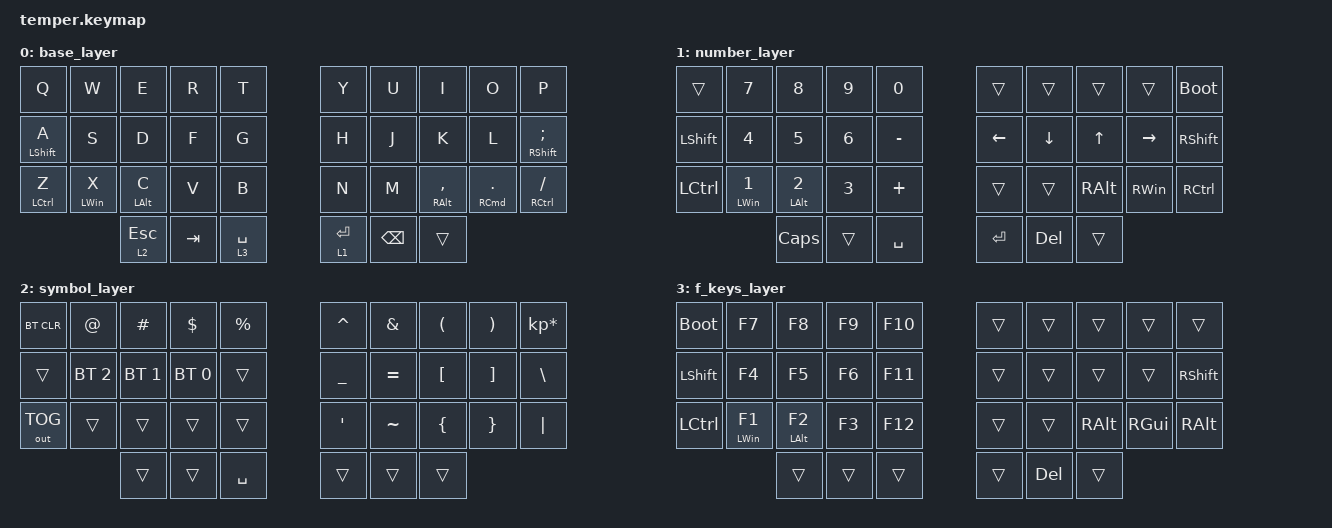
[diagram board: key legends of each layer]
/*
 * Copyright (c) 2020 The ZMK Contributors
 *
 * SPDX-License-Identifier: MIT
 */

#include <behaviors.dtsi>
#include <dt-bindings/zmk/keys.h>
#include <dt-bindings/zmk/bt.h>
#include <dt-bindings/zmk/outputs.h>

#define BASE 0
#define NUMBER 1
#define SYMBOL 2
#define F_KEYS 3

&lt {
    tapping-term-ms = <250>;
    flavor = "tap-preferred";
    require-prior-idle-ms = <130>;
    quick-tap-ms = <200>;
};

&mt {
    tapping-term-ms = <250>;
    flavor = "tap-preferred";
    require-prior-idle-ms = <130>;
    quick-tap-ms = <200>;
};

/ {
        keymap {
                compatible = "zmk,keymap";

                base_layer {
                        bindings = <
// ╭─────────────┬─────────────┬─────────────┬─────────────┬─────────────╮   ╭─────────────┬─────────────┬─────────────┬─────────────┬─────────────╮
        &kp Q         &kp W         &kp E         &kp R         &kp T             &kp Y         &kp U         &kp I         &kp O         &kp P         
// ├─────────────┼─────────────┼─────────────┼─────────────┼─────────────┤   ├─────────────┼─────────────┼─────────────┼─────────────┼─────────────┤
   &mt LEFT_SHIFT A  &kp S          &kp D         &kp F         &kp G             &kp H         &kp J         &kp K         &kp L     &mt RIGHT_SHIFT SEMI
// ├─────────────┼─────────────┼─────────────┼─────────────┼─────────────┤   ├─────────────┼─────────────┼─────────────┼─────────────┼─────────────┤
   &mt LCTRL Z     &mt LWIN X   &mt LALT C        &kp V         &kp B             &kp N         &kp M     &mt RALT COMMA &mt RCMD PERIOD &mt RCTRL SLASH
// ╰─────────────┴─────────────┼─────────────┼─────────────┼─────────────┤   ├─────────────┼─────────────┼─────────────┼─────────────┴─────────────╯
                                 &lt 2 ESCAPE    &kp TAB     &lt 3 SPACE       &lt 1 ENTER  &kp BACKSPACE    &trans
//                             ╰─────────────┴─────────────┴─────────────╯   ╰─────────────┴─────────────┴─────────────╯
                        >;
                };
                number_layer {
                        bindings = <
// ╭─────────────┬─────────────┬─────────────┬─────────────┬─────────────╮   ╭─────────────┬─────────────┬─────────────┬─────────────┬─────────────╮
       &trans     &kp NUMBER_7   &kp NUMBER_8  &kp NUMBER_9  &kp NUMBER_0          &trans       &trans        &trans        &trans      &bootloader   
// ├─────────────┼─────────────┼─────────────┼─────────────┼─────────────┤   ├─────────────┼─────────────┼─────────────┼─────────────┼─────────────┤
      &kp LSHFT   &kp NUMBER_4   &kp NUMBER_5  &kp NUMBER_6  &kp MINUS       &kp LEFT_ARROW  &kp DOWN_ARROW &kp UP_ARROW &kp RIGHT_ARROW &kp RSHFT
// ├─────────────┼─────────────┼─────────────┼─────────────┼─────────────┤   ├─────────────┼─────────────┼─────────────┼─────────────┼─────────────┤
      &kp LCTRL   &mt LWIN NUMBER_1 &mt LALT NUMBER_2 &kp NUMBER_3  &kp PLUS      &trans      &trans         &kp RALT     &kp RWIN      &kp RCTRL
// ╰─────────────┴─────────────┼─────────────┼─────────────┼─────────────┤   ├─────────────┼─────────────┼─────────────┼─────────────┴─────────────╯
                                 &kp CAPSLOCK   &trans        &kp SPACE          &kp RET      &kp DELETE   &trans
//                             ╰─────────────┴─────────────┴─────────────╯   ╰─────────────┴─────────────┴─────────────╯
                        >;
                };
                symbol_layer {
                        bindings = <
// ╭─────────────┬─────────────┬─────────────┬─────────────┬─────────────╮   ╭─────────────┬─────────────┬─────────────┬─────────────┬─────────────╮
      &bt BT_CLR     &kp AT        &kp HASH      &kp DLLR      &kp PRCNT       &kp CARET        &kp AMPS   &kp LPAR        &kp RPAR  &kp KP_ASTERISK  
// ├─────────────┼─────────────┼─────────────┼─────────────┼─────────────┤   ├─────────────┼─────────────┼─────────────┼─────────────┼─────────────┤
       &trans     &bt BT_SEL 2   &bt BT_SEL 1  &bt BT_SEL 0    &trans          &kp UNDER        &kp EQUAL  &kp LBKT        &kp RBKT      &kp BSLH 
// ├─────────────┼─────────────┼─────────────┼─────────────┼─────────────┤   ├─────────────┼─────────────┼─────────────┼─────────────┼─────────────┤
     &out OUT_TOG    &trans        &trans        &trans        &trans         &kp SINGLE_QUOTE  &kp TILDE  &kp LBRC        &kp RBRC    &kp PIPE 
// ╰─────────────┴─────────────┼─────────────┼─────────────┼─────────────┤   ├─────────────┼─────────────┼─────────────┼─────────────┴─────────────╯
                                    &trans       &trans       &kp SPACE       &trans         &trans        &trans
//                             ╰─────────────┴─────────────┴─────────────╯   ╰─────────────┴─────────────┴─────────────╯
                        >;
                };

                f_keys_layer {
                        bindings = <
// ╭─────────────┬─────────────┬─────────────┬─────────────┬─────────────╮   ╭─────────────┬─────────────┬─────────────┬─────────────┬─────────────╮
     &bootloader     &kp F7       &kp F8          &kp F9        &kp F10           &trans        &trans        &trans       &trans        &trans
// ├─────────────┼─────────────┼─────────────┼─────────────┼─────────────┤   ├─────────────┼─────────────┼─────────────┼─────────────┼─────────────┤
      &kp LSHFT      &kp F4       &kp F5          &kp F6        &kp F11           &trans        &trans        &trans       &trans        &kp RSHFT
// ├─────────────┼─────────────┼─────────────┼─────────────┼─────────────┤   ├─────────────┼─────────────┼─────────────┼─────────────┼─────────────┤
     &kp LCTRL    &mt LWIN F1    &mt LALT F2      &kp F3        &kp F12           &trans        &trans       &kp RALT      &kp RGUI      &kp RALT 
// ╰─────────────┴─────────────┼─────────────┼─────────────┼─────────────┤   ├─────────────┼─────────────┼─────────────┼─────────────┴─────────────╯
                                    &trans        &trans         &trans             &trans   &kp DELETE      &trans
//                             ╰─────────────┴─────────────┴─────────────╯   ╰─────────────┴─────────────┴─────────────╯
                        >;
                };
        };
};
